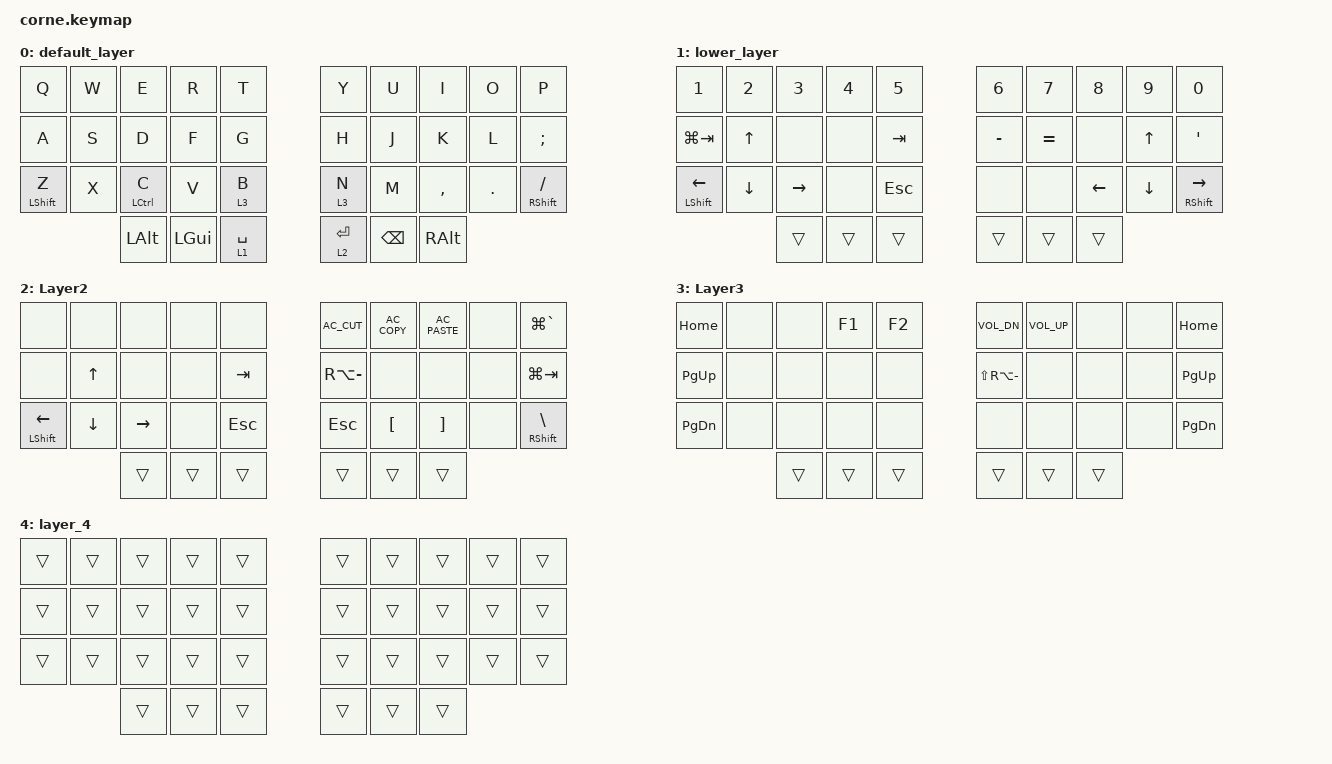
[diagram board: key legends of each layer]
#include <behaviors.dtsi>
#include <dt-bindings/zmk/keys.h>

/ {
    chosen { zmk,matrix_transform = &five_column_transform; };

    keymap {
        compatible = "zmk,keymap";

        default_layer {
            bindings = <
  &kp Q        &kp W  &kp E        &kp R     &kp T          &kp Y      &kp U     &kp I      &kp O    &kp P
  &kp A        &kp S  &kp D        &kp F     &kp G          &kp H      &kp J     &kp K      &kp L    &kp SEMI
  &mt LSHFT Z  &kp X  &mt LCTRL C  &kp V     &lt 3 B        &lt 3 N    &kp M     &kp COMMA  &kp DOT  &mt RSHFT FSLH
                      &kp LALT     &kp LGUI  &lt 1 SPACE    &lt 2 RET  &kp BSPC  &kp RALT
            >;
        };

        /* LAYER 1: NAV / NUM */

        lower_layer {
            bindings = <
  &kp N1                &kp N2    &kp N3     &kp N4  &kp N5     &kp N6     &kp N7     &kp N8          &kp N9          &kp N0
  &kp LG(TAB)           &kp UP    &none      &none   &kp TAB    &kp MINUS  &kp EQUAL  &none           &kp UP          &kp APOS
  &mt LSHFT LEFT_ARROW  &kp DOWN  &kp RIGHT  &none   &kp ESC    &none      &none      &kp LEFT_ARROW  &kp DOWN_ARROW  &mt RSHFT RIGHT_ARROW
                                  &trans     &trans  &trans     &trans     &trans     &trans
            >;
        };

        /* LAYER 2: EDIT / SHORTCUTS */

        Layer2 {
            bindings = <
  &none                 &none           &none      &none   &none      &kp C_AC_CUT   &kp C_AC_COPY  &kp C_AC_PASTE  &none  &kp LG(GRAVE)
  &none                 &kp UP_ARROW    &none      &none   &kp TAB    &kp RA(MINUS)  &none          &none           &none  &kp LG(TAB)
  &mt LSHFT LEFT_ARROW  &kp DOWN_ARROW  &kp RIGHT  &none   &kp ESC    &kp ESC        &kp LBKT       &kp RBKT        &none  &mt RSHFT BSLH
                                        &trans     &trans  &trans     &trans         &trans         &trans
            >;
        };

        /* LAYER 3: ADJUST / BT / MEDIA */

        Layer3 {
            bindings = <
  &kp HOME   &none  &none   &kp F1  &kp F2    &kp C_VOL_DN       &kp C_VOL_UP  &none   &none  &kp HOME
  &kp PG_UP  &none  &none   &none   &none     &kp LS(RA(MINUS))  &none         &none   &none  &kp PG_UP
  &kp PG_DN  &none  &none   &none   &none     &none              &none         &none   &none  &kp PG_DN
                    &trans  &trans  &trans    &trans             &trans        &trans
            >;
        };

        layer_4 {
            bindings = <
  &trans  &trans  &trans  &trans  &trans    &trans  &trans  &trans  &trans  &trans
  &trans  &trans  &trans  &trans  &trans    &trans  &trans  &trans  &trans  &trans
  &trans  &trans  &trans  &trans  &trans    &trans  &trans  &trans  &trans  &trans
                  &trans  &trans  &trans    &trans  &trans  &trans
            >;
        };
    };
};

/* Global mod-tap tuning */

&mt {
    flavor = "hold-preferred";
    tapping-term-ms = <200>;
    quick-tap-ms = <160>;
};
